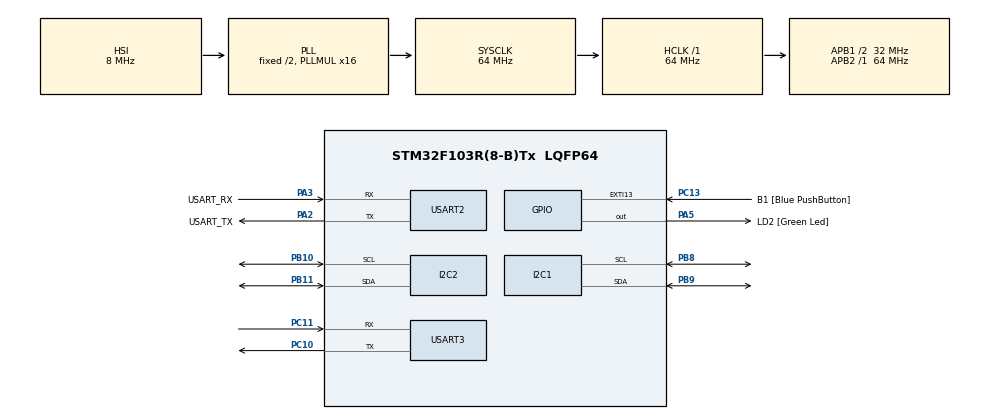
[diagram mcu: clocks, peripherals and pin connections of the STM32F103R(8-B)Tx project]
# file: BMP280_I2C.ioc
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Mcu.Family=STM32F1
Mcu.Name=STM32F103R(8-B)Tx
Mcu.Package=LQFP64
NVIC.EXTI15_10_IRQn=true\:0\:0\:false\:false\:true\:true\:true\:true
NVIC.I2C1_ER_IRQn=true\:0\:0\:false\:false\:true\:true\:true\:true
NVIC.I2C1_EV_IRQn=true\:0\:0\:false\:false\:true\:true\:true\:true
NVIC.PriorityGroup=NVIC_PRIORITYGROUP_4
NVIC.USART3_IRQn=true\:0\:0\:false\:false\:true\:true\:true\:true
PA10.Signal=USART1_RX
PA13.GPIO_Label=TMS
PA13.Mode=Serial_Wire
PA13.Signal=SYS_JTMS-SWDIO
PA14.GPIO_Label=TCK
PA14.Mode=Serial_Wire
PA14.Signal=SYS_JTCK-SWCLK
PA2.GPIO_Label=USART_TX
PA2.GPIO_Mode=GPIO_MODE_AF_PP
PA2.GPIO_PuPd=GPIO_NOPULL
PA2.GPIO_Speed=GPIO_SPEED_FREQ_LOW
PA2.Mode=Asynchronous
PA2.Signal=USART2_TX
PA3.GPIO_Label=USART_RX
PA3.GPIO_Mode=GPIO_MODE_AF_PP
PA3.GPIO_PuPd=GPIO_NOPULL
PA3.GPIO_Speed=GPIO_SPEED_FREQ_LOW
PA3.Mode=Asynchronous
PA3.Signal=USART2_RX
PA5.GPIO_Label=LD2 [Green Led]
PA5.GPIO_ModeDefaultOutputPP=GPIO_MODE_OUTPUT_PP
PA5.GPIO_PuPd=GPIO_NOPULL
PA5.GPIO_Speed=GPIO_SPEED_FREQ_LOW
PA5.Signal=GPIO_Output
PA9.Signal=USART1_TX
PB10.Mode=I2C
PB10.Signal=I2C2_SCL
PB11.Mode=I2C
PB11.Signal=I2C2_SDA
PB3.GPIO_Label=SWO
PB3.Signal=SYS_JTDO-TRACESWO
PB8.Mode=I2C
PB8.Signal=I2C1_SCL
PB9.Mode=I2C
PB9.Signal=I2C1_SDA
PC10.Mode=Asynchronous
PC10.Signal=USART3_TX
PC11.Mode=Asynchronous
PC11.Signal=USART3_RX
PC13-TAMPER-RTC.GPIO_Label=B1 [Blue PushButton]
PC13-TAMPER-RTC.GPIO_PuPd=GPIO_NOPULL
PC13-TAMPER-RTC.Signal=GPXTI13
PC14-OSC32_IN.Mode=LSE-External-Oscillator
PC14-OSC32_IN.Signal=RCC_OSC32_IN
PC15-OSC32_OUT.Mode=LSE-External-Oscillator
PC15-OSC32_OUT.Signal=RCC_OSC32_OUT
PD0-OSC_IN.Mode=HSE-External-Clock-Source
PD0-OSC_IN.Signal=RCC_OSC_IN
PD1-OSC_OUT.Mode=HSE-External-Clock-Source
PD1-OSC_OUT.Signal=RCC_OSC_OUT
ProjectManager.HeapSize=0x200
ProjectManager.StackSize=0x400
ProjectManager.TargetToolchain=STM32CubeIDE
RCC.AHBFreq_Value=64000000
RCC.APB1CLKDivider=RCC_HCLK_DIV2
RCC.APB1Freq_Value=32000000
RCC.APB1TimFreq_Value=64000000
RCC.APB2Freq_Value=64000000
RCC.APB2TimFreq_Value=64000000
RCC.HCLKFreq_Value=64000000
RCC.PLLMUL=RCC_PLL_MUL16
RCC.RTCClockSelection=RCC_RTCCLKSOURCE_LSE
RCC.SYSCLKFreq_VALUE=64000000
RCC.SYSCLKSource=RCC_SYSCLKSOURCE_PLLCLK
RCC.USBFreq_Value=64000000
RTC.Date=31
RTC.Month=RTC_MONTH_JULY
RTC.WeekDay=RTC_WEEKDAY_THURSDAY
USART2.VirtualMode=VM_ASYNC
USART3.VirtualMode=VM_ASYNC
VP_RTC_VS_RTC_Activate.Mode=RTC_Enabled
VP_RTC_VS_RTC_Calendar.Mode=RTC_Calendar
board=NUCLEO-F103RB

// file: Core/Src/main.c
/* USER CODE BEGIN Header */
/**
  ******************************************************************************
  * @file           : main.c
  * @brief          : Main program body
  ******************************************************************************
  * @attention
  *
  * Copyright (c) 2025 STMicroelectronics.
  * All rights reserved.
  *
  * This software is licensed under terms that can be found in the LICENSE file
  * in the root directory of this software component.
  * If no LICENSE file comes with this software, it is provided AS-IS.
  *
  ******************************************************************************
  */
/* USER CODE END Header */
#include "main.h"

/* USER CODE BEGIN Includes */
#include "bmp280.h"
#include <stdio.h>
#include <string.h>
#include <math.h>
#include <stdlib.h>   // for rand()

/* USER CODE END Includes */

I2C_HandleTypeDef hi2c1;
I2C_HandleTypeDef hi2c2;

RTC_HandleTypeDef hrtc;

UART_HandleTypeDef huart2;
UART_HandleTypeDef huart3;

void SystemClock_Config(void);
static void MX_GPIO_Init(void);
static void MX_USART2_UART_Init(void);
static void MX_I2C1_Init(void);
static void MX_RTC_Init(void);
static void MX_I2C2_Init(void);
static void MX_USART3_UART_Init(void);

/* USER CODE BEGIN 0 */
BMP280_HandleTypedef bmp280;

float pressure, temperature, altitude;

uint16_t size;
uint8_t Data[256];

RTC_TimeTypeDef sTime;
RTC_DateTypeDef DateToUpdate;

RTC_TimeTypeDef gTime;
RTC_DateTypeDef gDate;

uint8_t time[20];
uint8_t date[20];

/* USER CODE END 0 */

int main(void)
{

  /* MCU Configuration--------------------------------------------------------*/

  /* Reset of all peripherals, Initializes the Flash interface and the Systick. */
  HAL_Init();

  /* Configure the system clock */
  SystemClock_Config();

  /* Initialize all configured peripherals */
  MX_GPIO_Init();
  MX_USART2_UART_Init();
  MX_I2C1_Init();
  MX_RTC_Init();
  MX_I2C2_Init();
  MX_USART3_UART_Init();
  /* USER CODE BEGIN 2 */
//  bmp280_init_default_params(&bmp280.params);
//  	bmp280.addr = BMP280_I2C_ADDRESS_0;
//  	bmp280.i2c = &hi2c1;
//
//  	while (!bmp280_init(&bmp280, &bmp280.params)) {
//  		size = sprintf((char *)Data, "BMP280 initialization failed\n");
//  		HAL_UART_Transmit(&huart2, Data, size, 1000);
//  		HAL_Delay(2000);
//  	}
//  	bool bme280p = bmp280.id == BME280_CHIP_ID;
//  	size = sprintf((char *)Data, "BMP280: found %s\n", bme280p ? "BME280" : "BMP280");
//  	HAL_UART_Transmit(&huart2, Data, size, 1000);

  	//set_date(24, 8, 11, 7);

  /* USER CODE END 2 */

  /* Infinite loop */
  while (1)
  {

    /* USER CODE BEGIN 3 */
	 /*Code for taking from bmp280 sensors and rtc*/
//	  HAL_Delay(100);
//	  /* Get the RTC current Time */
//	  // Calculate altitude using barometric formula
//
//
//
//	    	  HAL_RTC_GetTime(&hrtc, &sTime, RTC_FORMAT_BCD);
//	    	  /* Get the RTC current Date */
//	    	  HAL_RTC_GetDate(&hrtc, &DateToUpdate, RTC_FORMAT_BCD);
//
//
//	  		while (!bmp280_read_float(&bmp280, &temperature, &pressure, &altitude)) {
//	  			size = sprintf((char *)Data,
//	  					"Temperature/pressure reading failed\n");
//	  			HAL_UART_Transmit(&huart2, Data, size, 1000);
//	  			HAL_Delay(2000);
//	  		}
//
//	  		 altitude = 44330.0 * (1.0 - pow((pressure / 101325.0), 0.1903));
//	  		size = sprintf((char *)Data,
//	  		  "{ \"pressure\": %.2f, \"temperature\": %.2f, \"altitude\": %.2f, \"time\": \"%02d:%02d:%02d\", \"date\": \"%04d-%02d-%02d\" }\n",
//	  		  pressure, temperature, altitude,
//	  		  sTime.Hours, sTime.Minutes, sTime.Seconds,
//	  		  2000 + DateToUpdate.Year, DateToUpdate.Month, DateToUpdate.Date);
//	  		HAL_UART_Transmit(&huart2, Data, size, 1000);
//
//	  		HAL_UART_Transmit(&huart2, Data, size, 1000);
//
//	  		HAL_Delay(1000);

	  /*Code for taking random values*/

	  HAL_Delay(100);

	      /* Get RTC current time and date */
	      HAL_RTC_GetTime(&hrtc, &sTime, RTC_FORMAT_BCD);
	      HAL_RTC_GetDate(&hrtc, &DateToUpdate, RTC_FORMAT_BCD);

	      /* Generate random sensor values */
	      float temperature = 20.0f + (rand() % 1500) / 100.0f; // 20.0 – 35.0 °C
	      float dissolvedO2 = 5.0f  + (rand() % 300) / 100.0f;  // 5.0 – 8.0 mg/L
	      float salinity    = 30.0f + (rand() % 1000) / 100.0f; // 30.0 – 40.0 PSU
	      float pH          = 6.5f  + (rand() % 200) / 100.0f;  // 6.5 – 8.5

	      /* Format JSON packet */
	      size = sprintf((char *)Data,
	         "{ \"Timestamp\": \"%04d-%02d-%02dT%02d:%02d:%02dZ\", "
	         "\"Temperature\": %.2f, "
	         "\"Dissolved O2\": %.2f, "
	         "\"Salinity\": %.2f, "
	         "\"pH\": %.2f }\n",
	         2000 + DateToUpdate.Year, DateToUpdate.Month, DateToUpdate.Date,
	         sTime.Hours, sTime.Minutes, sTime.Seconds,
	         temperature, dissolvedO2, salinity, pH);

	      HAL_UART_Transmit(&huart3, Data, size, 1000);

	      HAL_Delay(1000);

//	  HAL_Delay(100);
//
//	  /* Get RTC current time and date */
//	  HAL_RTC_GetTime(&hrtc, &sTime, RTC_FORMAT_BCD);
//	  HAL_RTC_GetDate(&hrtc, &DateToUpdate, RTC_FORMAT_BCD);
//
//	  /* --- Generate fake sensor values --- */
//	  float temperature = 20.0f + (rand() % 1500) / 100.0f; // 20.0 – 35.0 °C
//	  float salinity    = 30.0f + (rand() % 1000) / 100.0f; // 30.0 – 40.0 PSU
//	  float battery     = 3.7f;  // Example fixed value
//
//	  /* Packet ID counter */
//	  static uint32_t packet_id = 0;
//	  packet_id++;
//
//	  /* CRC placeholder (implement real CRC if needed) */
//	  uint16_t crc = 9399;
//
//	  /* Format JSON packet */
//	  size = sprintf((char *)Data,
//	     "{ \"header\": \"DATA\", "
//	     "\"device_id\": \"NODE_001\", "
//	     "\"rtc\": \"%04d/%d/%d %02d:%02d:%02d\", "
//	     "\"packet_id\": %lu, "
//	     "\"battery\": %.2f, "
//	     "\"TDS\": %d, "
//	     "\"EC\": %d, "
//	     "\"Salinity\": %.2f, "
//	     "\"Temp\": %.2f, "
//	     "\"crc\": \"%u\" }\n",
//	     2000 + DateToUpdate.Year, DateToUpdate.Month, DateToUpdate.Date,
//	     sTime.Hours, sTime.Minutes, sTime.Seconds,
//	     packet_id, battery, 0, 0, salinity, temperature, crc);
//
//	  HAL_UART_Transmit(&huart3, Data, size, 1000);
//
//  }
  /* USER CODE END 3 */
  }
}

void SystemClock_Config(void)
{
  RCC_OscInitTypeDef RCC_OscInitStruct = {0};
  RCC_ClkInitTypeDef RCC_ClkInitStruct = {0};
  RCC_PeriphCLKInitTypeDef PeriphClkInit = {0};

  /** Initializes the RCC Oscillators according to the specified parameters
  * in the RCC_OscInitTypeDef structure.
  */
  RCC_OscInitStruct.OscillatorType = RCC_OSCILLATORTYPE_HSI|RCC_OSCILLATORTYPE_LSE;
  RCC_OscInitStruct.LSEState = RCC_LSE_ON;
  RCC_OscInitStruct.HSIState = RCC_HSI_ON;
  RCC_OscInitStruct.HSICalibrationValue = RCC_HSICALIBRATION_DEFAULT;
  RCC_OscInitStruct.PLL.PLLState = RCC_PLL_ON;
  RCC_OscInitStruct.PLL.PLLSource = RCC_PLLSOURCE_HSI_DIV2;
  RCC_OscInitStruct.PLL.PLLMUL = RCC_PLL_MUL16;
  if (HAL_RCC_OscConfig(&RCC_OscInitStruct) != HAL_OK)
  {
    Error_Handler();
  }

  /** Initializes the CPU, AHB and APB buses clocks
  */
  RCC_ClkInitStruct.ClockType = RCC_CLOCKTYPE_HCLK|RCC_CLOCKTYPE_SYSCLK
                              |RCC_CLOCKTYPE_PCLK1|RCC_CLOCKTYPE_PCLK2;
  RCC_ClkInitStruct.SYSCLKSource = RCC_SYSCLKSOURCE_PLLCLK;
  RCC_ClkInitStruct.AHBCLKDivider = RCC_SYSCLK_DIV1;
  RCC_ClkInitStruct.APB1CLKDivider = RCC_HCLK_DIV2;
  RCC_ClkInitStruct.APB2CLKDivider = RCC_HCLK_DIV1;

  if (HAL_RCC_ClockConfig(&RCC_ClkInitStruct, FLASH_LATENCY_2) != HAL_OK)
  {
    Error_Handler();
  }
  PeriphClkInit.PeriphClockSelection = RCC_PERIPHCLK_RTC;
  PeriphClkInit.RTCClockSelection = RCC_RTCCLKSOURCE_LSE;
  if (HAL_RCCEx_PeriphCLKConfig(&PeriphClkInit) != HAL_OK)
  {
    Error_Handler();
  }
}

static void MX_I2C1_Init(void)
{

  hi2c1.Instance = I2C1;
  hi2c1.Init.ClockSpeed = 100000;
  hi2c1.Init.DutyCycle = I2C_DUTYCYCLE_2;
  hi2c1.Init.OwnAddress1 = 0;
  hi2c1.Init.AddressingMode = I2C_ADDRESSINGMODE_7BIT;
  hi2c1.Init.DualAddressMode = I2C_DUALADDRESS_DISABLE;
  hi2c1.Init.OwnAddress2 = 0;
  hi2c1.Init.GeneralCallMode = I2C_GENERALCALL_DISABLE;
  hi2c1.Init.NoStretchMode = I2C_NOSTRETCH_DISABLE;
  if (HAL_I2C_Init(&hi2c1) != HAL_OK)
  {
    Error_Handler();
  }

}

static void MX_I2C2_Init(void)
{

  hi2c2.Instance = I2C2;
  hi2c2.Init.ClockSpeed = 100000;
  hi2c2.Init.DutyCycle = I2C_DUTYCYCLE_2;
  hi2c2.Init.OwnAddress1 = 0;
  hi2c2.Init.AddressingMode = I2C_ADDRESSINGMODE_7BIT;
  hi2c2.Init.DualAddressMode = I2C_DUALADDRESS_DISABLE;
  hi2c2.Init.OwnAddress2 = 0;
  hi2c2.Init.GeneralCallMode = I2C_GENERALCALL_DISABLE;
  hi2c2.Init.NoStretchMode = I2C_NOSTRETCH_DISABLE;
  if (HAL_I2C_Init(&hi2c2) != HAL_OK)
  {
    Error_Handler();
  }

}

#define RTC_BKP_DEFINE_CODE 0x32F2
static void MX_RTC_Init(void)
{

  /* USER CODE BEGIN RTC_Init 0 */
//
  /* USER CODE END RTC_Init 0 */

  RTC_TimeTypeDef sTime = {0};
  RTC_DateTypeDef DateToUpdate = {0};

  /* USER CODE BEGIN RTC_Init 1 */
//
  /* USER CODE END RTC_Init 1 */

  /** Initialize RTC Only
  */
  hrtc.Instance = RTC;
  hrtc.Init.AsynchPrediv = RTC_AUTO_1_SECOND;
  hrtc.Init.OutPut = RTC_OUTPUTSOURCE_ALARM;
  if (HAL_RTC_Init(&hrtc) != HAL_OK)
  {
    Error_Handler();
  }

  /* USER CODE BEGIN Check_RTC_BKUP */
//
  if (HAL_RTCEx_BKUPRead(&hrtc, RTC_BKP_DR1) != RTC_BKP_DEFINE_CODE)
      {
        // RTC not initialized before: Set default time and date
  	  sTime.Hours = 0x03;
  	    sTime.Minutes = 0x0;
  	    sTime.Seconds = 0x0;

  	    if (HAL_RTC_SetTime(&hrtc, &sTime, RTC_FORMAT_BCD) != HAL_OK)
  	    {
  	      Error_Handler();
  	    }
  	  DateToUpdate.WeekDay = RTC_WEEKDAY_THURSDAY;
  	    DateToUpdate.Month = RTC_MONTH_JULY;
  	    DateToUpdate.Date = 0x31;
  	    DateToUpdate.Year = 0x0;

  	    if (HAL_RTC_SetDate(&hrtc, &DateToUpdate, RTC_FORMAT_BCD) != HAL_OK)
  	    {
  	      Error_Handler();
  	    }

        // Write magic code to backup register
        HAL_RTCEx_BKUPWrite(&hrtc, RTC_BKP_DR1, RTC_BKP_DEFINE_CODE);
      }

//
  /* USER CODE END Check_RTC_BKUP */

  /** Initialize RTC and set the Time and Date
  */
//  sTime.Hours = 0x0;
//  sTime.Minutes = 0x0;
//  sTime.Seconds = 0x0;
//
//  if (HAL_RTC_SetTime(&hrtc, &sTime, RTC_FORMAT_BCD) != HAL_OK)
//  {
//    Error_Handler();
//  }
//  DateToUpdate.WeekDay = RTC_WEEKDAY_THURSDAY;
//    DateToUpdate.Month = RTC_MONTH_JULY;
//    DateToUpdate.Date = 0x31;
//    DateToUpdate.Year = 0x0;
//
//  if (HAL_RTC_SetDate(&hrtc, &DateToUpdate, RTC_FORMAT_BCD) != HAL_OK)
//  {
//    Error_Handler();
//  }
  /* USER CODE BEGIN RTC_Init 2 */
//
  /* USER CODE END RTC_Init 2 */

}

static void MX_USART2_UART_Init(void)
{

  huart2.Instance = USART2;
  huart2.Init.BaudRate = 115200;
  huart2.Init.WordLength = UART_WORDLENGTH_8B;
  huart2.Init.StopBits = UART_STOPBITS_1;
  huart2.Init.Parity = UART_PARITY_NONE;
  huart2.Init.Mode = UART_MODE_TX_RX;
  huart2.Init.HwFlowCtl = UART_HWCONTROL_NONE;
  huart2.Init.OverSampling = UART_OVERSAMPLING_16;
  if (HAL_UART_Init(&huart2) != HAL_OK)
  {
    Error_Handler();
  }

}

static void MX_USART3_UART_Init(void)
{

  huart3.Instance = USART3;
  huart3.Init.BaudRate = 115200;
  huart3.Init.WordLength = UART_WORDLENGTH_8B;
  huart3.Init.StopBits = UART_STOPBITS_1;
  huart3.Init.Parity = UART_PARITY_NONE;
  huart3.Init.Mode = UART_MODE_TX_RX;
  huart3.Init.HwFlowCtl = UART_HWCONTROL_NONE;
  huart3.Init.OverSampling = UART_OVERSAMPLING_16;
  if (HAL_UART_Init(&huart3) != HAL_OK)
  {
    Error_Handler();
  }

}

static void MX_GPIO_Init(void)
{
  GPIO_InitTypeDef GPIO_InitStruct = {0};

  /* GPIO Ports Clock Enable */
  __HAL_RCC_GPIOC_CLK_ENABLE();
  __HAL_RCC_GPIOD_CLK_ENABLE();
  __HAL_RCC_GPIOA_CLK_ENABLE();
  __HAL_RCC_GPIOB_CLK_ENABLE();

  /*Configure GPIO pin Output Level */
  HAL_GPIO_WritePin(LD2_GPIO_Port, LD2_Pin, GPIO_PIN_RESET);

  /*Configure GPIO pin : B1_Pin */
  GPIO_InitStruct.Pin = B1_Pin;
  GPIO_InitStruct.Mode = GPIO_MODE_IT_RISING;
  GPIO_InitStruct.Pull = GPIO_NOPULL;
  HAL_GPIO_Init(B1_GPIO_Port, &GPIO_InitStruct);

  /*Configure GPIO pin : LD2_Pin */
  GPIO_InitStruct.Pin = LD2_Pin;
  GPIO_InitStruct.Mode = GPIO_MODE_OUTPUT_PP;
  GPIO_InitStruct.Pull = GPIO_NOPULL;
  GPIO_InitStruct.Speed = GPIO_SPEED_FREQ_LOW;
  HAL_GPIO_Init(LD2_GPIO_Port, &GPIO_InitStruct);

  /*Configure GPIO pin : PA9 */
  GPIO_InitStruct.Pin = GPIO_PIN_9;
  GPIO_InitStruct.Mode = GPIO_MODE_AF_PP;
  GPIO_InitStruct.Speed = GPIO_SPEED_FREQ_HIGH;
  HAL_GPIO_Init(GPIOA, &GPIO_InitStruct);

  /*Configure GPIO pin : PA10 */
  GPIO_InitStruct.Pin = GPIO_PIN_10;
  GPIO_InitStruct.Mode = GPIO_MODE_INPUT;
  GPIO_InitStruct.Pull = GPIO_NOPULL;
  HAL_GPIO_Init(GPIOA, &GPIO_InitStruct);

  /* EXTI interrupt init*/
  HAL_NVIC_SetPriority(EXTI15_10_IRQn, 0, 0);
  HAL_NVIC_EnableIRQ(EXTI15_10_IRQn);

}

void Error_Handler(void)
{
  __disable_irq();
  while (1)
  {
  }
}
